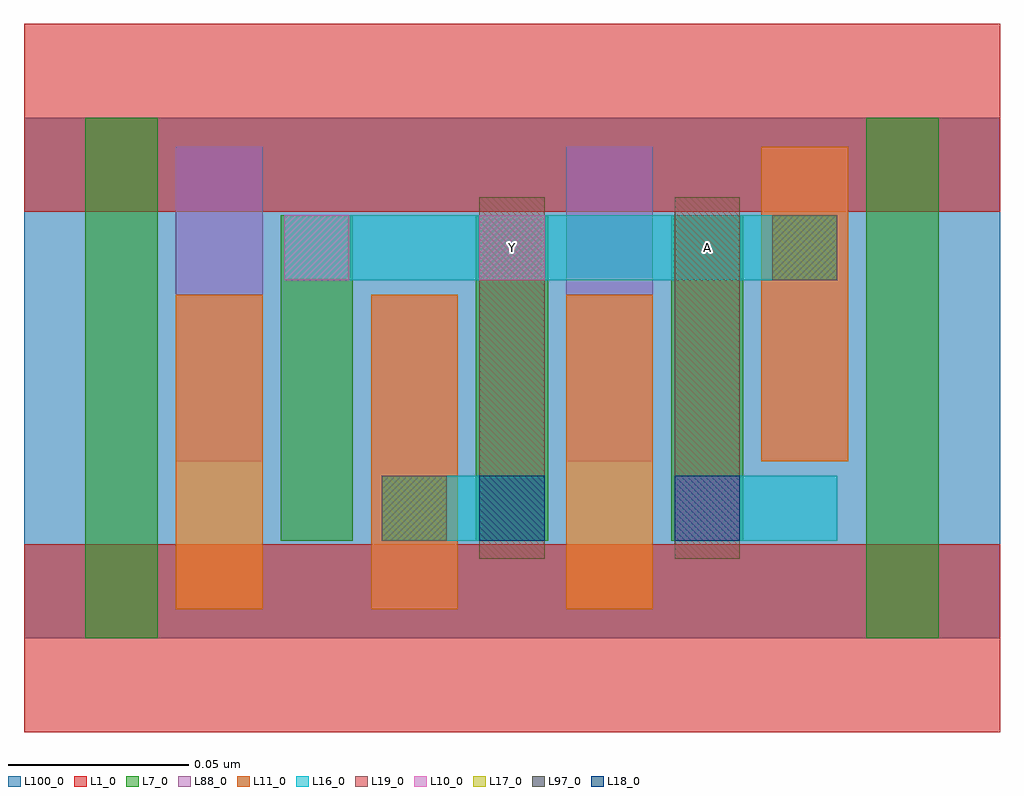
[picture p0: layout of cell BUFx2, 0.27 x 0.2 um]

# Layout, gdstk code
import gdstk
lib = gdstk.Library(unit=1e-6, precision=2.5e-10)
def R(c, l, rs):  # rectangles x0, y0, x1, y1
    for r in rs: c.add(gdstk.rectangle(r[:2], r[2:], *l))
def A(c, l, x, y, w, h, nx, ny, dx, dy):  # array of equal rectangles
    R(c, l, [(x+i*dx, y+j*dy, x+i*dx+w, y+j*dy+h) for i in range(nx) for j in range(ny)])
L1_0 = (1, 0)
L7_0 = (7, 0)
L10_0 = (10, 0)
L11_0 = (11, 0)
L16_0 = (16, 0)
L17_0 = (17, 0)
L18_0 = (18, 0)
L19_0 = (19, 0)
L88_0 = (88, 0)
L97_0 = (97, 0)
L100_0 = (100, 0)

bufx2 = lib.new_cell('BUFx2')
R(bufx2, L1_0, [(0,-0.026,0.27,0.026), (0,0.118,0.27,0.17)])
A(bufx2, L7_0, 0.071, 0.027, 0.02, 0.09, 3, 1, 0.054, 0)
R(bufx2, L7_0, [(0.017,0,0.037,0.144), (0.233,0,0.253,0.144)])
R(bufx2, L10_0, [(0.18,0.027,0.198,0.045), (0.072,0.099,0.09,0.117), (0.126,0.099,0.144,0.117)])
A(bufx2, L11_0, 0.042, 0.008, 0.024, 0.087, 3, 1, 0.054, 0)
R(bufx2, L11_0, [(0.204,0.049,0.228,0.136)])
R(bufx2, L16_0, [(0.099,0.027,0.144,0.045), (0.18,0.027,0.225,0.045), (0.072,0.099,0.225,0.117)])
R(bufx2, L17_0, [(0.099,0.027,0.117,0.045), (0.207,0.099,0.225,0.117)])
R(bufx2, L18_0, [(0.126,0.027,0.144,0.045), (0.18,0.027,0.198,0.045)])
R(bufx2, L19_0, [(0.126,0.022,0.144,0.122), (0.18,0.022,0.198,0.122)])
R(bufx2, L88_0, [(0.096,0.008,0.12,0.095), (0.042,0.049,0.066,0.136), (0.15,0.049,0.174,0.136), (0.204,0.049,0.228,0.136)])
R(bufx2, L97_0, [(0.099,0.027,0.117,0.045), (0.207,0.099,0.225,0.117)])
R(bufx2, L100_0, [(0,0,0.27,0.144)])
bufx2.add(gdstk.Label('A', (0.189,0.108), layer=19, texttype=251))
bufx2.add(gdstk.Label('Y', (0.135,0.108), layer=19, texttype=251))

lib.write_gds('BUFx2.gds')
